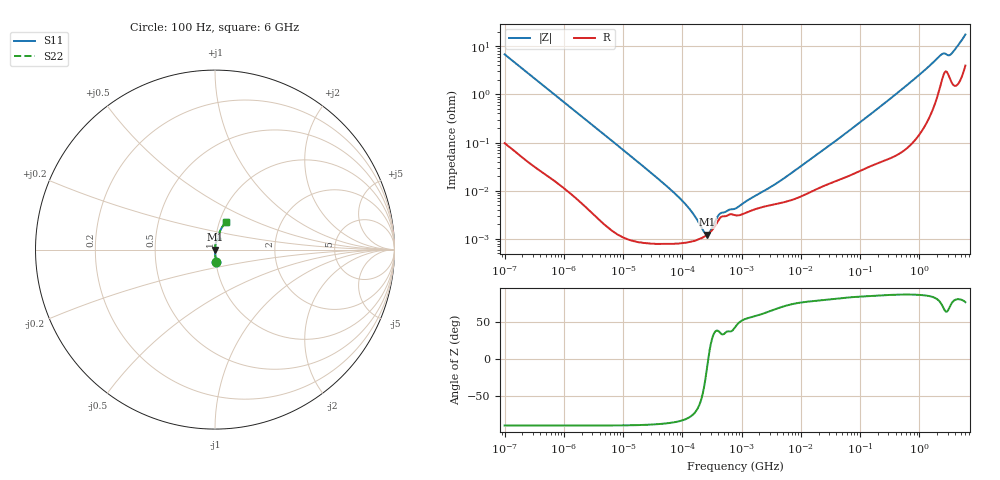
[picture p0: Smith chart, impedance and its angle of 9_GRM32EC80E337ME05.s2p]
!Murata Part Number: GRM32EC80E337ME05
!These Parameters are Measured in Series Mode Connection
!  o--ll--o
!Port1  Port2
!  o------o
!Operation Temp=25[C], DC Bias Voltage=0[V]
!Freq. Start=100[Hz] Stop=6000000000[Hz] 401[Steps]
# Hz S RI R 50
!Freq.(Hz) S11(Real) S11(Imag) S21(Real) S21(Imag) S12(Real) S12(Imag) S22(Real) S22(Imag)
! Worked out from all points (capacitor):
!   401 points, 100 Hz to 6 GHz, reference 50 ohm
!   read as one part in series: C = 235 uF near 109 Hz
!   lowest |Z| = 1.23 mohm at 264.5 kHz (marker M1)
!   series resonance near 273.6 kHz, so ESL is about 1.4 nH
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100  0.00551 -0.0672  0.9945 0.0672  0.9945 0.0672  0.00551 -0.0672
320  0.000766 -0.0213  0.9992 0.0213  0.9992 0.0213  0.000766 -0.0213
2008  6.64e-05 -0.00347  0.9999 0.00347  0.9999 0.00347  6.64e-05 -0.00347
40335  7.9e-06 -0.000171  1 0.000171  1 0.000171  7.9e-06 -0.000171
60352  7.9e-06 -0.000111  1 0.000111  1 0.000111  7.9e-06 -0.000111
69028  7.9e-06 -9.56e-05  1 9.56e-05  1 9.56e-05  7.9e-06 -9.56e-05
264476  1.22e-05 -1.8e-06  1 1.8e-06  1 1.8e-06  1.22e-05 -1.8e-06
774597  3.09e-05 2.88e-05  1 -2.88e-05  1 -2.88e-05  3.09e-05 2.88e-05
2169299  4.53e-05 8.08e-05  1 -8.08e-05  1 -8.08e-05  4.53e-05 8.08e-05
2594782  4.78e-05 9.34e-05  1 -9.34e-05  1 -9.34e-05  4.78e-05 9.34e-05
5079039  5.72e-05 0.000168  0.9999 -0.000168  0.9999 -0.000168  5.72e-05 0.000168
1.555665e7  9.75e-05 0.000467  0.9999 -0.000467  0.9999 -0.000467  9.75e-05 0.000467
5.211241e7  0.000183 0.00141  0.9998 -0.00141  0.9998 -0.00141  0.000183 0.00141
3.124326e8  0.000522 0.00782  0.9995 -0.00782  0.9995 -0.00782  0.000522 0.00782
1.046602e9  0.00227 0.0265  0.9977 -0.0265  0.9977 -0.0265  0.00227 0.0265
2.240541e9  0.0176 0.0598  0.9824 -0.0598  0.9824 -0.0598  0.0176 0.0598
2.562649e9  0.0286 0.0625  0.9714 -0.0625  0.9714 -0.0625  0.0286 0.0625
3.065283e9  0.0288 0.0558  0.9712 -0.0558  0.9712 -0.0558  0.0288 0.0558
3.505958e9  0.0217 0.065  0.9783 -0.065  0.9783 -0.065  0.0217 0.065
4.586474e9  0.027 0.1008  0.973 -0.1008  0.973 -0.1008  0.027 0.1008
5.486059e9  0.0453 0.1333  0.9547 -0.1333  0.9547 -0.1333  0.0453 0.1333
6e9  0.063 0.1532  0.937 -0.1532  0.937 -0.1532  0.063 0.1532
